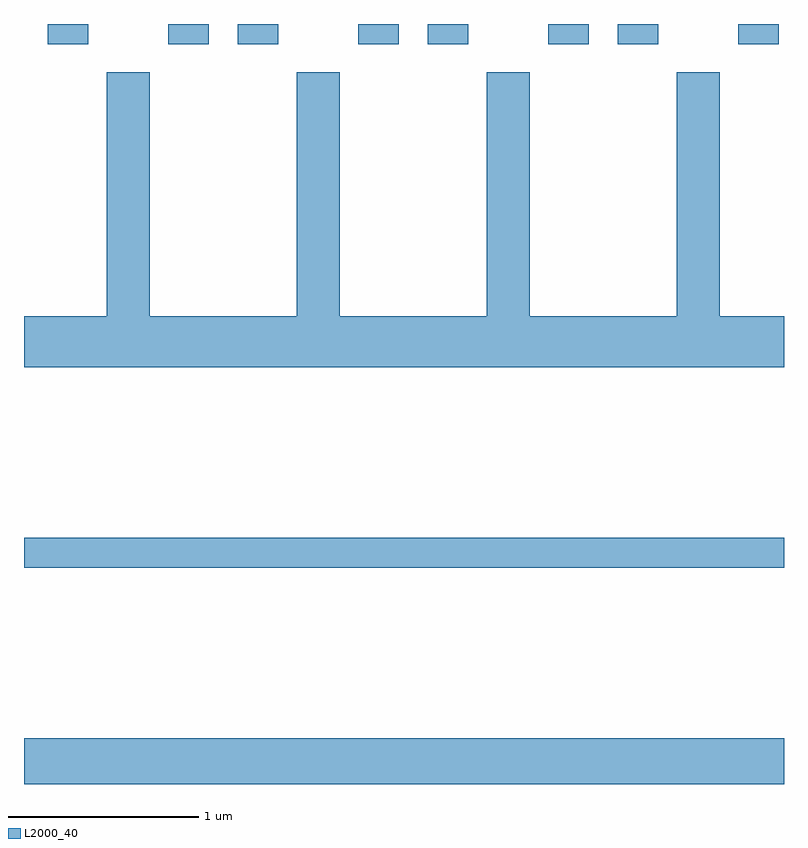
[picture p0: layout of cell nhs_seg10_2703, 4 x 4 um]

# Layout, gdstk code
import gdstk
lib = gdstk.Library(unit=1e-6, precision=1e-09)
def R(c, l, rs):  # rectangles x0, y0, x1, y1
    for r in rs: c.add(gdstk.rectangle(r[:2], r[2:], *l))
def P(c, l, *ps):  # polygons
    for p in ps: c.add(gdstk.Polygon(p, *l))
L2000_40 = (2000, 40)

nhs_seg10_2703 = lib.new_cell('nhs_seg10_2703')
R(nhs_seg10_2703, L2000_40, [(263.611,2200.522,267.611,2200.764), (263.611,2201.661,267.611,2201.819), (263.736,2204.416,263.949,2204.522), (264.371,2204.416,264.584,2204.522), (264.736,2204.416,264.949,2204.522), (265.371,2204.416,265.584,2204.522), (265.736,2204.416,265.949,2204.522), (266.371,2204.416,266.584,2204.522), (266.736,2204.416,266.949,2204.522), (267.371,2204.416,267.584,2204.522)])
P(nhs_seg10_2703, L2000_40, [(267.611,2202.984),(267.274,2202.984),(267.274,2204.269),(267.046,2204.269),(267.046,2202.984),(266.274,2202.984),(266.274,2204.269),(266.046,2204.269),(266.046,2202.984),(265.274,2202.984),(265.274,2204.269),(265.046,2204.269),(265.046,2202.984),(264.274,2202.984),(264.274,2204.269),(264.046,2204.269),(264.046,2202.984),(263.611,2202.984),(263.611,2202.716),(267.611,2202.716)])

lib.write_gds('nhs_seg10_2703.gds')
